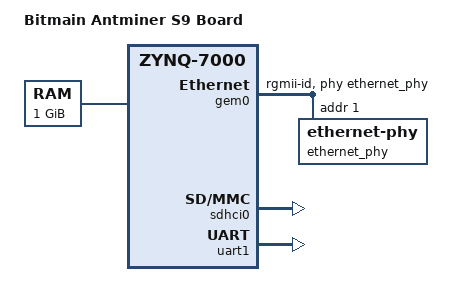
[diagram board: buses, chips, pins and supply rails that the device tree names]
// SPDX-License-Identifier: GPL-2.0
/*
 * Bitmain Antminer S9 board DTS
 *
 * Copyright (C) 2018 Michal Simek
 * Copyright (C) 2018 VanguardiaSur
 */
/dts-v1/;
#include "zynq-7000.dtsi"

/ {
	model = "Bitmain Antminer S9 Board";
	compatible = "bitmain,antminer-s9", "xlnx,zynq-7000";

	aliases {
		ethernet0 = &gem0;
		serial0 = &uart1;
		mmc0 = &sdhci0;
		gpio0 = &gpio0;
	};

	memory@0 {
		device_type = "memory";
		reg = <0x0 0x40000000>;
	};

	reserved-memory {
		#address-cells = <1>;
		#size-cells = <1>;
		ranges;

		bootcount@efffff0 {
			reg = <0xefffff0 0x10>;
			no-map;
		};

		fpga_space@f000000 {
			reg = <0xf000000 0x1000000>;
			no-map;
		};
	};

	chosen {
		bootargs = "earlycon";
		stdout-path = "serial0:115200n8";
	};
};

&clkc {
	ps-clk-frequency = <33333333>;
};

&gem0 {
	status = "okay";
	phy-mode = "rgmii-id";
	phy-handle = <&ethernet_phy>;

	/* 0362/5e62 */
	ethernet_phy: ethernet-phy@1 {
		reg = <1>;
	};
};

&sdhci0 {
	u-boot,dm-pre-reloc;
	status = "okay";
	disable-wp;
};

&uart1 {
	u-boot,dm-pre-reloc;
	status = "okay";
};

&watchdog0 {
	reset-on-timeout;
	timeout-sec = <200>;
};
